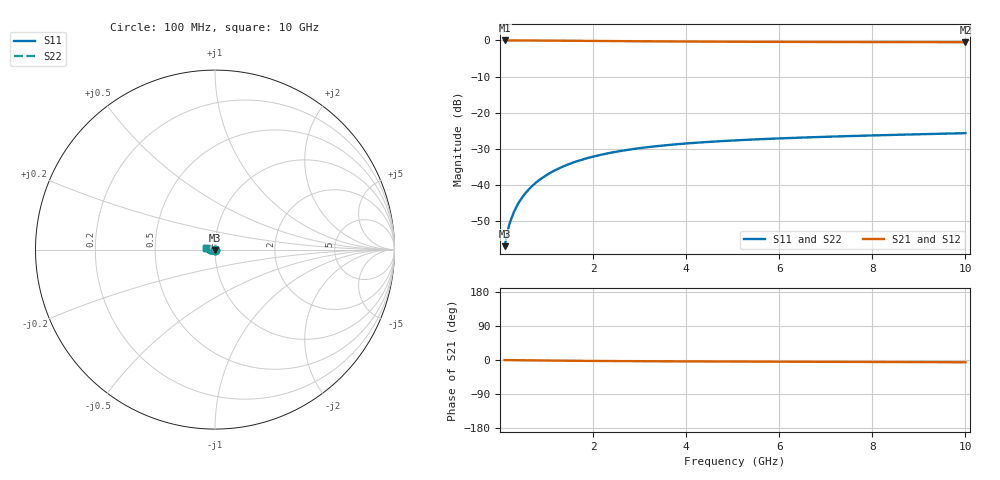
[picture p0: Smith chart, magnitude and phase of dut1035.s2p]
! Touchstone file exported from HFSS 2024.1.0
!  File:  C:/UserFiles/LocalFiles/RDL_TSV_Batchsim/temp_TSV1_1035_1780061234.aedt
!  Generated:  09:33:04 PM May 29, 2026
!  Design:  TSV1
!  Project:  temp_TSV1_1035_1780061234
!  Setup:  Setup1
!  Solution:  Sweep
! Variables:
!  dtsv = 10.71um
!  hbump = 3um
!  htsv = 92.15um
!  lrdl = 252.1521522um
!  p = 40
!  p1 = 58.58um
!  t = 500um
!  trdl = 3um
!  wrdl = 24.89489489um
# GHz S MA R 50.000000
! Terminal data exported
! Port[1] = TSV22_T1
! Port[2] = TSV22_T2
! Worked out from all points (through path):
!   100 points, 100 MHz to 10 GHz, reference 50 ohm
!   highest |S21| = 0.00 dB at 100 MHz (marker M1); lowest = -0.5 dB at 10 GHz (marker M2)
!   lowest |S11| = -56.9 dB at 100 MHz (marker M3), VSWR 1.00, Z = 50 - j0.143 ohm
!   |S11| at or under -10 dB: start of sweep to end of sweep
!   |S22| runs from -56.9 to -25.6 dB; largest |S21 - S12| = 4e-15
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0.1  0.00143 -86.6  0.9998 -0.1  0.9998 -0.1  0.00143 -86.6
! Gamma 0 0 0 0
! Port Impedance 50 0 50 0
0.2  0.00285 -91.2  0.9996 -0.3  0.9996 -0.3  0.00285 -91.2
0.3  0.004268 -94.1  0.9994 -0.4  0.9994 -0.4  0.004268 -94.1
0.4  0.005679 -96.5  0.999 -0.6  0.999 -0.6  0.005679 -96.5
0.5  0.007078 -98.8  0.9985 -0.7  0.9985 -0.7  0.007078 -98.8
0.6  0.008461 -101.0  0.998 -0.9  0.998 -0.9  0.008461 -101.0
0.7  0.009824 -103.1  0.9974 -1.0  0.9974 -1.0  0.009824 -103.1
0.8  0.01116 -105.2  0.9967 -1.1  0.9967 -1.1  0.01116 -105.2
0.9  0.01247 -107.2  0.9959 -1.3  0.9959 -1.3  0.01247 -107.2
1.1  0.01501 -111.2  0.9942 -1.5  0.9942 -1.5  0.01501 -111.2
1.4  0.01857 -116.8  0.9913 -1.9  0.9913 -1.9  0.01857 -116.8
1.6  0.02076 -120.4  0.9892 -2.1  0.9892 -2.1  0.02076 -120.4
1.8  0.02281 -123.8  0.987 -2.3  0.987 -2.3  0.02281 -123.8
2.1  0.02563 -128.6  0.9838 -2.5  0.9838 -2.5  0.02563 -128.6
2.5  0.02892 -134.6  0.9795 -2.8  0.9795 -2.8  0.02892 -134.6
2.9  0.03173 -140.0  0.9755 -3.1  0.9755 -3.1  0.03173 -140.0
3.4  0.03469 -146.1  0.971 -3.4  0.971 -3.4  0.03469 -146.1
4.2  0.03844 -154.6  0.9649 -3.7  0.9649 -3.7  0.03844 -154.6
5.1  0.04165 -162.6  0.9597 -4.1  0.9597 -4.1  0.04165 -162.6
6.7  0.04587 -174.2  0.9532 -4.7  0.9532 -4.7  0.04587 -174.2
8.4  0.04934 175.9  0.9488 -5.3  0.9488 -5.3  0.04934 175.9
10  0.05222 168.0  0.946 -5.9  0.946 -5.9  0.05222 168.0
